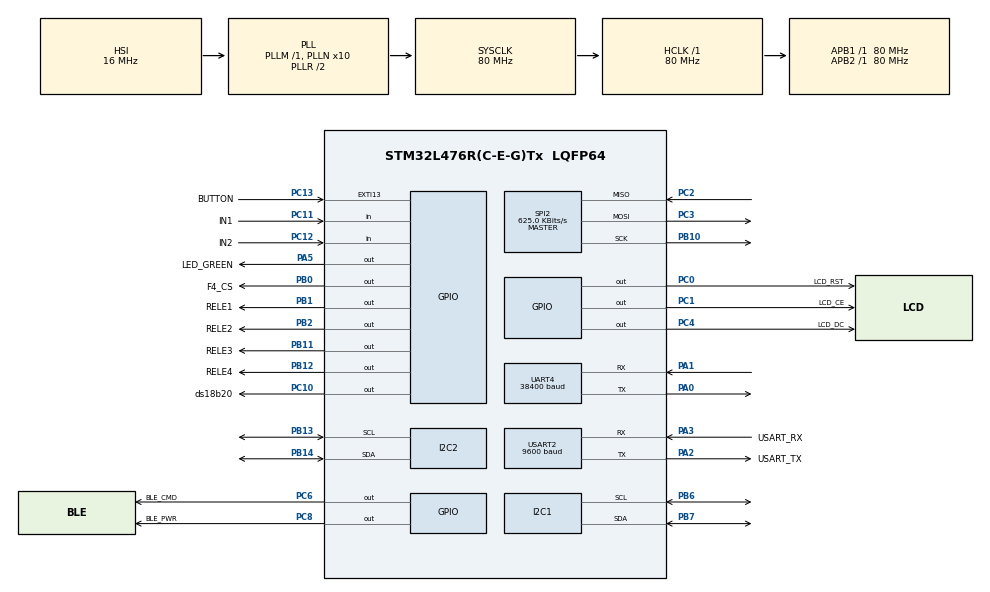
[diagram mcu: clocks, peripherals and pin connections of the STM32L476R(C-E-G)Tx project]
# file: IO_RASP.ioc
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CRC.DefaultPolynomialUse=DEFAULT_POLYNOMIAL_DISABLE
Dma.Request0=UART4_RX
Dma.Request1=UART4_TX
Dma.UART4_RX.0.Direction=DMA_PERIPH_TO_MEMORY
Dma.UART4_RX.0.Instance=DMA2_Channel5
Dma.UART4_RX.0.MemDataAlignment=DMA_MDATAALIGN_BYTE
Dma.UART4_RX.0.MemInc=DMA_MINC_ENABLE
Dma.UART4_RX.0.Mode=DMA_NORMAL
Dma.UART4_RX.0.PeriphDataAlignment=DMA_PDATAALIGN_BYTE
Dma.UART4_RX.0.PeriphInc=DMA_PINC_DISABLE
Dma.UART4_RX.0.Priority=DMA_PRIORITY_LOW
Dma.UART4_TX.1.Direction=DMA_MEMORY_TO_PERIPH
Dma.UART4_TX.1.Instance=DMA2_Channel3
Dma.UART4_TX.1.MemDataAlignment=DMA_MDATAALIGN_BYTE
Dma.UART4_TX.1.MemInc=DMA_MINC_ENABLE
Dma.UART4_TX.1.Mode=DMA_NORMAL
Dma.UART4_TX.1.PeriphDataAlignment=DMA_PDATAALIGN_BYTE
Dma.UART4_TX.1.PeriphInc=DMA_PINC_DISABLE
Dma.UART4_TX.1.Priority=DMA_PRIORITY_LOW
I2C1.Timing=0x10909CEC
I2C2.GeneralCallMode=I2C_GENERALCALL_ENABLE
I2C2.OwnAddress=64
I2C2.Timing=0x10909CEC
Mcu.Family=STM32L4
Mcu.Name=STM32L476R(C-E-G)Tx
Mcu.Package=LQFP64
NVIC.DMA2_Channel3_IRQn=true\:0\:0\:false\:false\:true\:false\:true\:true
NVIC.DMA2_Channel5_IRQn=true\:0\:0\:false\:false\:true\:false\:true\:true
NVIC.EXTI15_10_IRQn=true\:0\:0\:false\:false\:true\:true\:true\:true
NVIC.I2C1_ER_IRQn=true\:0\:0\:false\:false\:true\:true\:true\:true
NVIC.I2C1_EV_IRQn=true\:0\:0\:false\:false\:true\:true\:true\:true
NVIC.I2C2_ER_IRQn=true\:0\:0\:false\:false\:true\:true\:true\:true
NVIC.I2C2_EV_IRQn=true\:0\:0\:false\:false\:true\:true\:true\:true
NVIC.PriorityGroup=NVIC_PRIORITYGROUP_4
NVIC.SPI2_IRQn=true\:0\:0\:false\:false\:true\:true\:true\:true
NVIC.TIM6_DAC_IRQn=true\:0\:0\:false\:false\:true\:true\:true\:true
NVIC.TIM7_IRQn=true\:15\:0\:false\:false\:true\:false\:true\:true
NVIC.TimeBase=TIM7_IRQn
NVIC.TimeBaseIP=TIM7
NVIC.UART4_IRQn=true\:0\:0\:false\:false\:true\:true\:true\:true
NVIC.USART2_IRQn=true\:0\:0\:false\:false\:true\:true\:true\:true
PA0.Mode=Asynchronous
PA0.Signal=UART4_TX
PA1.Mode=Asynchronous
PA1.Signal=UART4_RX
PA13\ (JTMS-SWDIO).GPIO_Label=TMS
PA13\ (JTMS-SWDIO).Mode=Serial_Wire
PA13\ (JTMS-SWDIO).Signal=SYS_JTMS-SWDIO
PA14\ (JTCK-SWCLK).GPIO_Label=TCK
PA14\ (JTCK-SWCLK).Mode=Serial_Wire
PA14\ (JTCK-SWCLK).Signal=SYS_JTCK-SWCLK
PA2.GPIO_Label=USART_TX
PA2.GPIO_Mode=GPIO_MODE_AF_PP
PA2.GPIO_PuPd=GPIO_NOPULL
PA2.GPIO_Speed=GPIO_SPEED_FREQ_VERY_HIGH
PA2.Mode=Asynchronous
PA2.Signal=USART2_TX
PA3.GPIO_Label=USART_RX
PA3.GPIO_Mode=GPIO_MODE_AF_PP
PA3.GPIO_PuPd=GPIO_NOPULL
PA3.GPIO_Speed=GPIO_SPEED_FREQ_VERY_HIGH
PA3.Mode=Asynchronous
PA3.Signal=USART2_RX
PA5.GPIO_Label=LED_GREEN
PA5.GPIO_ModeDefaultOutputPP=GPIO_MODE_OUTPUT_PP
PA5.GPIO_PuPd=GPIO_NOPULL
PA5.GPIO_Speed=GPIO_SPEED_FREQ_LOW
PA5.Signal=GPIO_Output
PB0.GPIO_Label=F4_CS
PB0.Signal=GPIO_Output
PB1.GPIO_Label=RELE1
PB1.GPIO_PuPd=GPIO_PULLUP
PB1.PinState=GPIO_PIN_SET
PB1.Signal=GPIO_Output
PB10.Mode=Full_Duplex_Master
PB10.Signal=SPI2_SCK
PB11.GPIO_Label=RELE3
PB11.GPIO_PuPd=GPIO_PULLUP
PB11.PinState=GPIO_PIN_SET
PB11.Signal=GPIO_Output
PB12.GPIO_Label=RELE4
PB12.GPIO_PuPd=GPIO_PULLUP
PB12.PinState=GPIO_PIN_SET
PB12.Signal=GPIO_Output
PB13.Mode=I2C
PB13.Signal=I2C2_SCL
PB14.Mode=I2C
PB14.Signal=I2C2_SDA
PB2.GPIO_Label=RELE2
PB2.GPIO_PuPd=GPIO_PULLUP
PB2.PinState=GPIO_PIN_SET
PB2.Signal=GPIO_Output
PB3\ (JTDO-TRACESWO).GPIO_Label=SWO
PB3\ (JTDO-TRACESWO).Signal=SYS_JTDO-SWO
PB6.Mode=I2C
PB6.Signal=I2C1_SCL
PB7.Mode=I2C
PB7.Signal=I2C1_SDA
PC0.GPIO_Label=LCD_RST
PC0.Signal=GPIO_Output
PC1.GPIO_Label=LCD_CE
PC1.Signal=GPIO_Output
PC10.GPIO_Label=ds18b20
PC10.GPIO_ModeDefaultOutputPP=GPIO_MODE_OUTPUT_OD
PC10.GPIO_PuPd=GPIO_NOPULL
PC10.Signal=GPIO_Output
PC11.GPIO_Label=IN1
PC11.Signal=GPIO_Input
PC12.GPIO_Label=IN2
PC12.Signal=GPIO_Input
PC13.GPIO_Label=BUTTON
PC13.GPIO_ModeDefaultEXTI=GPIO_MODE_IT_FALLING
PC13.GPIO_PuPd=GPIO_NOPULL
PC13.Signal=GPXTI13
PC14-OSC32_IN\ (PC14).Mode=LSE-External-Oscillator
PC14-OSC32_IN\ (PC14).Signal=RCC_OSC32_IN
PC15-OSC32_OUT\ (PC15).Mode=LSE-External-Oscillator
PC15-OSC32_OUT\ (PC15).Signal=RCC_OSC32_OUT
PC2.Mode=Full_Duplex_Master
PC2.Signal=SPI2_MISO
PC3.Mode=Full_Duplex_Master
PC3.Signal=SPI2_MOSI
PC4.GPIO_Label=LCD_DC
PC4.GPIO_ModeDefaultOutputPP=GPIO_MODE_OUTPUT_PP
PC4.GPIO_PuPd=GPIO_NOPULL
PC4.Signal=GPIO_Output
PC6.GPIO_Label=BLE_CMD
PC6.Signal=GPIO_Output
PC8.GPIO_Label=BLE_PWR
PC8.Signal=GPIO_Output
PH0-OSC_IN\ (PH0).Signal=RCC_OSC_IN
PH1-OSC_OUT\ (PH1).Signal=RCC_OSC_OUT
ProjectManager.HeapSize=0x200
ProjectManager.StackSize=0x400
ProjectManager.TargetToolchain=STM32CubeIDE
RCC.ADCFreq_Value=64000000
RCC.AHBFreq_Value=80000000
RCC.APB1Freq_Value=80000000
RCC.APB1TimFreq_Value=80000000
RCC.APB2Freq_Value=80000000
RCC.APB2TimFreq_Value=80000000
RCC.CortexFreq_Value=80000000
RCC.HCLKFreq_Value=80000000
RCC.HSE_VALUE=8000000
RCC.HSI_VALUE=16000000
RCC.MSI_VALUE=4000000
RCC.PLLN=10
RCC.PLLSourceVirtual=RCC_PLLSOURCE_HSI
RCC.PREFETCH_ENABLE=1
RCC.SYSCLKFreq_VALUE=80000000
RCC.SYSCLKSource=RCC_SYSCLKSOURCE_PLLCLK
RCC.USBFreq_Value=64000000
RCC.VCOOutputFreq_Value=160000000
SPI2.BaudRatePrescaler=SPI_BAUDRATEPRESCALER_128
SPI2.CalculateBaudRate=625.0 KBits/s
SPI2.DataSize=SPI_DATASIZE_8BIT
SPI2.Direction=SPI_DIRECTION_2LINES
SPI2.Mode=SPI_MODE_MASTER
SPI2.NSSPMode=SPI_NSS_PULSE_DISABLE
SPI2.VirtualType=VM_MASTER
TIM6.Prescaler=79
UART4.BaudRate=38400
USART2.BaudRate=9600
USART2.VirtualMode-Asynchronous=VM_ASYNC
VP_CRC_VS_CRC.Mode=CRC_Activate
VP_SYS_VS_tim7.Mode=TIM7
VP_TIM6_VS_ClockSourceINT.Mode=Enable_Timer
board=NUCLEO-L476RG

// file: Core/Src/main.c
/* USER CODE BEGIN Header */
/**
  ******************************************************************************
  * @file           : main.c
  * @brief          : Main program body
  ******************************************************************************
  * @attention
  *
  * Copyright (c) 2022 STMicroelectronics.
  * All rights reserved.
  *
  * This software is licensed under terms that can be found in the LICENSE file
  * in the root directory of this software component.
  * If no LICENSE file comes with this software, it is provided AS-IS.
  *
  ******************************************************************************
  */
/* USER CODE END Header */
#include "main.h"

/* USER CODE BEGIN Includes */
#include "user_5110.h"
#include "onewire.h"
#include "ds18b20.h"
#include <stdlib.h>
#include "string.h"
#include "stdio.h"
#include "stdlib.h"
#include <stdbool.h>
#include <stdint.h>
#include "BMP180.h"
#include<string.h>
#include "crc.h"

/* USER CODE END Includes */

/* USER CODE BEGIN PM */
/* Extern variables*/
 extern OneWire_t OneWire;

/* Private define ------------------------------------------------------------*/
#define UART_BUFFER_SIZE 	 30
#define REFRESH_OUTPUT 		 500
#define REFRESH_DISPLAY 	 500
#define UART_DATA_TIME		 500
#define NAME_BL		"IO_RASP\r\n"
#define UART_BL		"9600,0,0\r\n"
#define PSW_BL		"1234\r\n"
#define SET_TEMP	"SETEMP"
#define GET_TEMPIN	"GETEMPIN"
#define GET_TEMPOUT	"GETEMPOUT"
#define GET_PRES	"GETPRES"
#define NACK_RESPONSE		'0'				// resposta a um comando invalido
#define ACK_RESPONSE		'1'				// resposta a um c
#define FW_VERSION			"1.2"

enum
 {
	 EVENT= 1,
	 COMAND = 2
 };

/* Private macro -------------------------------------------------------------*/
uint16_t u16BufIndex;						//Index do Buffer RX DMA
uint8_t u8BufRxUartData[UART_BUFFER_SIZE];	//Bufeer RX DMA
static uint32_t u32TimeBuff;				//Atualizção de dados no RX DMA
uint8_t u8BufUart4Data[30];					//Buffer da UART BLE
uint8_t u8BufUart2Data[30];					//Buffer da UART USB
char Buff_Display[120];						//Buffer para escrita display
char bufferUart2Tx[120];					//Buffer de transmissão Bluetooth
char bufferUart2Rx[120];					//Buffer de Recepção Bluetooth
bool BreadTemp = false;						//Flag de leitura da temperatura ONEWIRE
float fSet_Temp = 25;						//Valor de temperatura de controle
uint32_t u32RefreschDisplay;				//Atualização do display
uint32_t u32TimerOutput;					//tempo de controle da sáida
float ftempIn;								//Temperatura BMP-180
float press;								//Pressão BM-180
uint8_t u8IndexUart2 = 0;
uint32_t u32KeyTime;
bool bNewData;
uint8_t u8ProtocolI2c[4] = {0};
uint8_t u8RxI2C[100] = {0};
uint8_t u8TxI2C[100] = {0};
uint8_t u8SizeTx = 0;
uint8_t u8SizeRx = 0;
uint8_t u8BuffBluPy [100];
uint8_t u8SizeBluPy;
bool bFlagSize = false;
bool bFlagRxDataBLE = false;
uint8_t sizeBLETransmit = 0;
uint8_t u8BuffBLEWriteI2C[50] ={0};
uint8_t u8DataReceiveBLEPy[5];
uint8_t u8IndexBLEWrite=0;
uint8_t u8DebugBuff [10] = {0XFF};

void ReadTemp(void);
uint8_t Config_Bt(void);
uint8_t Manage_Data_Blue(uint8_t *u8Data);
uint16_t GetUartRxDataSize(void);
uint16_t UartGetData(uint16_t u16Size, uint8_t *u8BufGetdata);
uint32_t TimeDiff(uint32_t u32OldTime);
void PinControl(void);
void TaskDisplay(void);
void UartData (void);
void TaskKey (void);
void SendSPI(uint8_t* u8data, uint8_t u8size);
void ReceiveSPI(uint8_t* u8data, uint8_t u8size);
void FwVersion(void);
void RxProcess(void);
void OutputControl(uint8_t u8outNumber, bool bAction);
void GetIn(uint8_t u8INNumber);
void GetTemp(uint8_t u8NumberTemp);
void CommandResponse(uint8_t u8Response);
void GetPress(void);
/* USER CODE END PM */

 CRC_HandleTypeDef hcrc;

I2C_HandleTypeDef hi2c1;
I2C_HandleTypeDef hi2c2;

SPI_HandleTypeDef hspi2;

TIM_HandleTypeDef htim6;

UART_HandleTypeDef huart4;
UART_HandleTypeDef huart2;
DMA_HandleTypeDef hdma_uart4_rx;
DMA_HandleTypeDef hdma_uart4_tx;

void SystemClock_Config(void);
static void MX_GPIO_Init(void);
static void MX_USART2_UART_Init(void);
static void MX_DMA_Init(void);
static void MX_SPI2_Init(void);
static void MX_UART4_Init(void);
static void MX_I2C1_Init(void);
static void MX_CRC_Init(void);
static void MX_TIM6_Init(void);
static void MX_I2C2_Init(void);

int main(void)
{

  /* MCU Configuration--------------------------------------------------------*/

  /* Reset of all peripherals, Initializes the Flash interface and the Systick. */
  HAL_Init();

  /* Configure the system clock */
  SystemClock_Config();

  /* Initialize all configured peripherals */
  MX_GPIO_Init();
  F4_CS(SET);
  HAL_GPIO_WritePin(BLE_PWR_GPIO_Port, BLE_PWR_Pin, GPIO_PIN_RESET);

  HAL_GPIO_WritePin(BLE_CMD_GPIO_Port, BLE_CMD_Pin, GPIO_PIN_SET);
  MX_USART2_UART_Init();
  MX_DMA_Init();
  MX_SPI2_Init();
  MX_UART4_Init();
  BluPwr(true);
  MX_I2C1_Init();
  MX_CRC_Init();
  MX_TIM6_Init();
  MX_I2C2_Init();
  /* USER CODE BEGIN 2 */

  /*
  MX_GPIO_Init();
  F4_CS(SET);
  HAL_GPIO_WritePin(BLE_PWR_GPIO_Port, BLE_PWR_Pin, GPIO_PIN_RESET);

  HAL_GPIO_WritePin(BLE_CMD_GPIO_Port, BLE_CMD_Pin, GPIO_PIN_SET);
  MX_USART2_UART_Init();
  MX_DMA_Init();
  MX_SPI2_Init();
  MX_UART4_Init();
  BluPwr(true);
  MX_I2C1_Init();
  MX_CRC_Init();
  MX_TIM6_Init();
  MX_I2C2_Init();
   */
    LCD_Init();
    LCD_Write_String(0,0,"INICIALIZANDO");
    LCD_Write_String(0,1,"SISTEMA...");
    LCD_Write_String(0,4,"AGUARDE.....");

    Ds18b20_Init();		//Inicia sensor OneWire
    Ds18b20_ManualConvert();
    DS18B20_Start(&OneWire, ds18b20[0].Address);
    BMP180_Start(); //Inicia sensor BMP-180

    if(Config_Bt() != HAL_OK)			//Configura nome, uart e PSW do bluetooth
  	  {
  		  BluPwr(false);
  		  HAL_Delay(100);
  		  BluPwr(true);
  		  HAL_Delay(2000);
  		  if(Config_Bt() != HAL_OK)
  			  HAL_NVIC_SystemReset();
  	  }

    HAL_UART_Receive_IT(&huart2, (uint8_t*)bufferUart2Rx, 1);		//Inicia a recepção UART2
    HAL_I2C_EnableListen_IT(&hi2c2);
    HAL_GPIO_WritePin(LED_GREEN_GPIO_Port, LED_GREEN_Pin, GPIO_PIN_SET);
    memset(u8DebugBuff,0xFF,sizeof(u8DebugBuff));

  /* USER CODE END 2 */

  /* Infinite loop */
  /* USER CODE BEGIN WHILE */
  while (1)
  {

	  ReadTemp();
	//  PinControl();
	  TaskDisplay();
	  UartData ();
	  TaskKey();
    /* USER CODE END WHILE */

  }
}

void SystemClock_Config(void)
{
  RCC_OscInitTypeDef RCC_OscInitStruct = {0};
  RCC_ClkInitTypeDef RCC_ClkInitStruct = {0};

  /** Configure the main internal regulator output voltage
  */
  if (HAL_PWREx_ControlVoltageScaling(PWR_REGULATOR_VOLTAGE_SCALE1) != HAL_OK)
  {
    Error_Handler();
  }

  /** Initializes the RCC Oscillators according to the specified parameters
  * in the RCC_OscInitTypeDef structure.
  */
  RCC_OscInitStruct.OscillatorType = RCC_OSCILLATORTYPE_HSI;
  RCC_OscInitStruct.HSIState = RCC_HSI_ON;
  RCC_OscInitStruct.HSICalibrationValue = RCC_HSICALIBRATION_DEFAULT;
  RCC_OscInitStruct.PLL.PLLState = RCC_PLL_ON;
  RCC_OscInitStruct.PLL.PLLSource = RCC_PLLSOURCE_HSI;
  RCC_OscInitStruct.PLL.PLLM = 1;
  RCC_OscInitStruct.PLL.PLLN = 10;
  RCC_OscInitStruct.PLL.PLLP = RCC_PLLP_DIV7;
  RCC_OscInitStruct.PLL.PLLQ = RCC_PLLQ_DIV2;
  RCC_OscInitStruct.PLL.PLLR = RCC_PLLR_DIV2;
  if (HAL_RCC_OscConfig(&RCC_OscInitStruct) != HAL_OK)
  {
    Error_Handler();
  }

  /** Initializes the CPU, AHB and APB buses clocks
  */
  RCC_ClkInitStruct.ClockType = RCC_CLOCKTYPE_HCLK|RCC_CLOCKTYPE_SYSCLK
                              |RCC_CLOCKTYPE_PCLK1|RCC_CLOCKTYPE_PCLK2;
  RCC_ClkInitStruct.SYSCLKSource = RCC_SYSCLKSOURCE_PLLCLK;
  RCC_ClkInitStruct.AHBCLKDivider = RCC_SYSCLK_DIV1;
  RCC_ClkInitStruct.APB1CLKDivider = RCC_HCLK_DIV1;
  RCC_ClkInitStruct.APB2CLKDivider = RCC_HCLK_DIV1;

  if (HAL_RCC_ClockConfig(&RCC_ClkInitStruct, FLASH_LATENCY_4) != HAL_OK)
  {
    Error_Handler();
  }
}

static void MX_CRC_Init(void)
{

  hcrc.Instance = CRC;
  hcrc.Init.DefaultPolynomialUse = DEFAULT_POLYNOMIAL_DISABLE;
  hcrc.Init.DefaultInitValueUse = DEFAULT_INIT_VALUE_ENABLE;
  hcrc.Init.GeneratingPolynomial = 79764919;
  hcrc.Init.CRCLength = CRC_POLYLENGTH_32B;
  hcrc.Init.InputDataInversionMode = CRC_INPUTDATA_INVERSION_NONE;
  hcrc.Init.OutputDataInversionMode = CRC_OUTPUTDATA_INVERSION_DISABLE;
  hcrc.InputDataFormat = CRC_INPUTDATA_FORMAT_BYTES;
  if (HAL_CRC_Init(&hcrc) != HAL_OK)
  {
    Error_Handler();
  }

}

static void MX_I2C1_Init(void)
{

  hi2c1.Instance = I2C1;
  hi2c1.Init.Timing = 0x10909CEC;
  hi2c1.Init.OwnAddress1 = 0;
  hi2c1.Init.AddressingMode = I2C_ADDRESSINGMODE_7BIT;
  hi2c1.Init.DualAddressMode = I2C_DUALADDRESS_DISABLE;
  hi2c1.Init.OwnAddress2 = 0;
  hi2c1.Init.OwnAddress2Masks = I2C_OA2_NOMASK;
  hi2c1.Init.GeneralCallMode = I2C_GENERALCALL_DISABLE;
  hi2c1.Init.NoStretchMode = I2C_NOSTRETCH_DISABLE;
  if (HAL_I2C_Init(&hi2c1) != HAL_OK)
  {
    Error_Handler();
  }

  /** Configure Analogue filter
  */
  if (HAL_I2CEx_ConfigAnalogFilter(&hi2c1, I2C_ANALOGFILTER_ENABLE) != HAL_OK)
  {
    Error_Handler();
  }

  /** Configure Digital filter
  */
  if (HAL_I2CEx_ConfigDigitalFilter(&hi2c1, 0) != HAL_OK)
  {
    Error_Handler();
  }

}

static void MX_I2C2_Init(void)
{

  hi2c2.Instance = I2C2;
  hi2c2.Init.Timing = 0x10909CEC;
  hi2c2.Init.OwnAddress1 = 128;
  hi2c2.Init.AddressingMode = I2C_ADDRESSINGMODE_7BIT;
  hi2c2.Init.DualAddressMode = I2C_DUALADDRESS_DISABLE;
  hi2c2.Init.OwnAddress2 = 0;
  hi2c2.Init.OwnAddress2Masks = I2C_OA2_NOMASK;
  hi2c2.Init.GeneralCallMode = I2C_GENERALCALL_ENABLE;
  hi2c2.Init.NoStretchMode = I2C_NOSTRETCH_DISABLE;
  if (HAL_I2C_Init(&hi2c2) != HAL_OK)
  {
    Error_Handler();
  }

  /** Configure Analogue filter
  */
  if (HAL_I2CEx_ConfigAnalogFilter(&hi2c2, I2C_ANALOGFILTER_ENABLE) != HAL_OK)
  {
    Error_Handler();
  }

  /** Configure Digital filter
  */
  if (HAL_I2CEx_ConfigDigitalFilter(&hi2c2, 0) != HAL_OK)
  {
    Error_Handler();
  }

}

static void MX_SPI2_Init(void)
{

  /* SPI2 parameter configuration*/
  hspi2.Instance = SPI2;
  hspi2.Init.Mode = SPI_MODE_MASTER;
  hspi2.Init.Direction = SPI_DIRECTION_2LINES;
  hspi2.Init.DataSize = SPI_DATASIZE_8BIT;
  hspi2.Init.CLKPolarity = SPI_POLARITY_LOW;
  hspi2.Init.CLKPhase = SPI_PHASE_1EDGE;
  hspi2.Init.NSS = SPI_NSS_SOFT;
  hspi2.Init.BaudRatePrescaler = SPI_BAUDRATEPRESCALER_128;
  hspi2.Init.FirstBit = SPI_FIRSTBIT_MSB;
  hspi2.Init.TIMode = SPI_TIMODE_DISABLE;
  hspi2.Init.CRCCalculation = SPI_CRCCALCULATION_DISABLE;
  hspi2.Init.CRCPolynomial = 7;
  hspi2.Init.CRCLength = SPI_CRC_LENGTH_DATASIZE;
  hspi2.Init.NSSPMode = SPI_NSS_PULSE_DISABLE;
  if (HAL_SPI_Init(&hspi2) != HAL_OK)
  {
    Error_Handler();
  }

}

static void MX_TIM6_Init(void)
{

  TIM_MasterConfigTypeDef sMasterConfig = {0};

  htim6.Instance = TIM6;
  htim6.Init.Prescaler = 79;
  htim6.Init.CounterMode = TIM_COUNTERMODE_UP;
  htim6.Init.Period = 65535;
  htim6.Init.AutoReloadPreload = TIM_AUTORELOAD_PRELOAD_DISABLE;
  if (HAL_TIM_Base_Init(&htim6) != HAL_OK)
  {
    Error_Handler();
  }
  sMasterConfig.MasterOutputTrigger = TIM_TRGO_RESET;
  sMasterConfig.MasterSlaveMode = TIM_MASTERSLAVEMODE_DISABLE;
  if (HAL_TIMEx_MasterConfigSynchronization(&htim6, &sMasterConfig) != HAL_OK)
  {
    Error_Handler();
  }

}

static void MX_UART4_Init(void)
{

  huart4.Instance = UART4;
  huart4.Init.BaudRate = 38400;
  huart4.Init.WordLength = UART_WORDLENGTH_8B;
  huart4.Init.StopBits = UART_STOPBITS_1;
  huart4.Init.Parity = UART_PARITY_NONE;
  huart4.Init.Mode = UART_MODE_TX_RX;
  huart4.Init.HwFlowCtl = UART_HWCONTROL_NONE;
  huart4.Init.OverSampling = UART_OVERSAMPLING_16;
  huart4.Init.OneBitSampling = UART_ONE_BIT_SAMPLE_DISABLE;
  huart4.AdvancedInit.AdvFeatureInit = UART_ADVFEATURE_NO_INIT;
  if (HAL_UART_Init(&huart4) != HAL_OK)
  {
    Error_Handler();
  }

}

static void MX_USART2_UART_Init(void)
{

  huart2.Instance = USART2;
  huart2.Init.BaudRate = 9600;
  huart2.Init.WordLength = UART_WORDLENGTH_8B;
  huart2.Init.StopBits = UART_STOPBITS_1;
  huart2.Init.Parity = UART_PARITY_NONE;
  huart2.Init.Mode = UART_MODE_TX_RX;
  huart2.Init.HwFlowCtl = UART_HWCONTROL_NONE;
  huart2.Init.OverSampling = UART_OVERSAMPLING_16;
  huart2.Init.OneBitSampling = UART_ONE_BIT_SAMPLE_DISABLE;
  huart2.AdvancedInit.AdvFeatureInit = UART_ADVFEATURE_NO_INIT;
  if (HAL_UART_Init(&huart2) != HAL_OK)
  {
    Error_Handler();
  }

}

static void MX_DMA_Init(void)
{

  /* DMA controller clock enable */
  __HAL_RCC_DMA2_CLK_ENABLE();

  /* DMA interrupt init */
  /* DMA2_Channel3_IRQn interrupt configuration */
  HAL_NVIC_SetPriority(DMA2_Channel3_IRQn, 0, 0);
  HAL_NVIC_EnableIRQ(DMA2_Channel3_IRQn);
  /* DMA2_Channel5_IRQn interrupt configuration */
  HAL_NVIC_SetPriority(DMA2_Channel5_IRQn, 0, 0);
  HAL_NVIC_EnableIRQ(DMA2_Channel5_IRQn);

}

static void MX_GPIO_Init(void)
{
  GPIO_InitTypeDef GPIO_InitStruct = {0};

  /* GPIO Ports Clock Enable */
  __HAL_RCC_GPIOC_CLK_ENABLE();
  __HAL_RCC_GPIOH_CLK_ENABLE();
  __HAL_RCC_GPIOA_CLK_ENABLE();
  __HAL_RCC_GPIOB_CLK_ENABLE();

  /*Configure GPIO pin Output Level */
  HAL_GPIO_WritePin(GPIOC, LCD_RST_Pin|LCD_CE_Pin|LCD_DC_Pin|BLE_CMD_Pin
                          |BLE_PWR_Pin|ds18b20_Pin, GPIO_PIN_RESET);

  /*Configure GPIO pin Output Level */
  HAL_GPIO_WritePin(LED_GREEN_GPIO_Port, LED_GREEN_Pin, GPIO_PIN_RESET);

  /*Configure GPIO pin Output Level */
  HAL_GPIO_WritePin(F4_CS_GPIO_Port, F4_CS_Pin, GPIO_PIN_RESET);

  /*Configure GPIO pin Output Level */
  HAL_GPIO_WritePin(GPIOB, RELE1_Pin|RELE2_Pin|RELE3_Pin|RELE4_Pin, GPIO_PIN_SET);

  /*Configure GPIO pin : BUTTON_Pin */
  GPIO_InitStruct.Pin = BUTTON_Pin;
  GPIO_InitStruct.Mode = GPIO_MODE_IT_FALLING;
  GPIO_InitStruct.Pull = GPIO_NOPULL;
  HAL_GPIO_Init(BUTTON_GPIO_Port, &GPIO_InitStruct);

  /*Configure GPIO pins : LCD_RST_Pin LCD_CE_Pin LCD_DC_Pin BLE_CMD_Pin
                           BLE_PWR_Pin */
  GPIO_InitStruct.Pin = LCD_RST_Pin|LCD_CE_Pin|LCD_DC_Pin|BLE_CMD_Pin
                          |BLE_PWR_Pin;
  GPIO_InitStruct.Mode = GPIO_MODE_OUTPUT_PP;
  GPIO_InitStruct.Pull = GPIO_NOPULL;
  GPIO_InitStruct.Speed = GPIO_SPEED_FREQ_LOW;
  HAL_GPIO_Init(GPIOC, &GPIO_InitStruct);

  /*Configure GPIO pin : LED_GREEN_Pin */
  GPIO_InitStruct.Pin = LED_GREEN_Pin;
  GPIO_InitStruct.Mode = GPIO_MODE_OUTPUT_PP;
  GPIO_InitStruct.Pull = GPIO_NOPULL;
  GPIO_InitStruct.Speed = GPIO_SPEED_FREQ_LOW;
  HAL_GPIO_Init(LED_GREEN_GPIO_Port, &GPIO_InitStruct);

  /*Configure GPIO pin : F4_CS_Pin */
  GPIO_InitStruct.Pin = F4_CS_Pin;
  GPIO_InitStruct.Mode = GPIO_MODE_OUTPUT_PP;
  GPIO_InitStruct.Pull = GPIO_NOPULL;
  GPIO_InitStruct.Speed = GPIO_SPEED_FREQ_LOW;
  HAL_GPIO_Init(F4_CS_GPIO_Port, &GPIO_InitStruct);

  /*Configure GPIO pins : RELE1_Pin RELE2_Pin RELE3_Pin RELE4_Pin */
  GPIO_InitStruct.Pin = RELE1_Pin|RELE2_Pin|RELE3_Pin|RELE4_Pin;
  GPIO_InitStruct.Mode = GPIO_MODE_OUTPUT_PP;
  GPIO_InitStruct.Pull = GPIO_PULLUP;
  GPIO_InitStruct.Speed = GPIO_SPEED_FREQ_LOW;
  HAL_GPIO_Init(GPIOB, &GPIO_InitStruct);

  /*Configure GPIO pin : ds18b20_Pin */
  GPIO_InitStruct.Pin = ds18b20_Pin;
  GPIO_InitStruct.Mode = GPIO_MODE_OUTPUT_OD;
  GPIO_InitStruct.Pull = GPIO_NOPULL;
  GPIO_InitStruct.Speed = GPIO_SPEED_FREQ_LOW;
  HAL_GPIO_Init(ds18b20_GPIO_Port, &GPIO_InitStruct);

  /*Configure GPIO pins : IN1_Pin IN2_Pin */
  GPIO_InitStruct.Pin = IN1_Pin|IN2_Pin;
  GPIO_InitStruct.Mode = GPIO_MODE_INPUT;
  GPIO_InitStruct.Pull = GPIO_NOPULL;
  HAL_GPIO_Init(GPIOC, &GPIO_InitStruct);

  /* EXTI interrupt init*/
  HAL_NVIC_SetPriority(EXTI15_10_IRQn, 0, 0);
  HAL_NVIC_EnableIRQ(EXTI15_10_IRQn);

}

/* USER CODE BEGIN 4 */
void HAL_I2C_AddrCallback(I2C_HandleTypeDef *hi2c, uint8_t TransferDirection, uint16_t AddrMatchCode)
{
	if(!TransferDirection)
		HAL_I2C_Slave_Seq_Receive_IT(&hi2c2, u8RxI2C, 3, I2C_FIRST_FRAME);
	else
		HAL_I2C_Slave_Seq_Transmit_IT(&hi2c2, u8TxI2C, u8SizeTx, I2C_FIRST_FRAME);
}
void HAL_I2C_ListenCpltCallback(I2C_HandleTypeDef *hi2c)
{
	  HAL_I2C_EnableListen_IT(hi2c);
}
void HAL_I2C_SlaveTxCpltCallback(I2C_HandleTypeDef *hi2c)
{

}
void GetDataBLE()
{
	u8DebugBuff[u8IndexBLEWrite] = u8DataReceiveBLEPy[0];
	if(u8DataReceiveBLEPy[0]== '\n')
	{
		u8BuffBLEWriteI2C[u8IndexBLEWrite++] = '\n';
		HAL_UART_Transmit(&huart4, (uint8_t *)u8BuffBLEWriteI2C, u8IndexBLEWrite,10);
		u8IndexBLEWrite = 0;

	}
	else
	{
		u8BuffBLEWriteI2C[u8IndexBLEWrite++] = u8DataReceiveBLEPy[0];
	}
}
void HAL_I2C_SlaveRxCpltCallback(I2C_HandleTypeDef *hi2c)
{
	bNewData = true;
	if(bFlagSize)
	{
		bFlagSize = false;
		GetDataBLE();
	}
	else
		RxProcess();
}
void CommandResponse(uint8_t u8Response)
{
	u8SizeTx = sprintf((char*)u8TxI2C,"%c",u8Response);
}
void StatusOutputs(void)
{
	u8SizeTx = 4;
	u8TxI2C[0] = !HAL_GPIO_ReadPin(RELE1_GPIO_Port, RELE1_Pin);
	u8TxI2C[1] = !HAL_GPIO_ReadPin(RELE1_GPIO_Port, RELE2_Pin);
	u8TxI2C[2] = !HAL_GPIO_ReadPin(RELE1_GPIO_Port, RELE3_Pin);
	u8TxI2C[3] = !HAL_GPIO_ReadPin(RELE1_GPIO_Port, RELE4_Pin);
}
void OutputControl(uint8_t u8outNumber, bool bAction)
{
	switch(u8outNumber)
	{
		case 1:
//			if(!HAL_GPIO_ReadPin(RELE1_GPIO_Port, RELE1_Pin))
//				break;
			rele1(bAction);
			break;
		case 2:
//			if(!HAL_GPIO_ReadPin(RELE2_GPIO_Port, RELE2_Pin))
//				break;
			rele2(bAction);
			break;
		case 3:
//			if(!HAL_GPIO_ReadPin(RELE3_GPIO_Port, RELE3_Pin))
//				break;
			rele3(bAction);
			break;
		case 4:
//			if(!HAL_GPIO_ReadPin(RELE4_GPIO_Port, RELE4_Pin))
//				break;
			rele4(bAction);
			break;
	}
	CommandResponse(ACK_RESPONSE);						// informa mensagem recebida
}
void GetIn(uint8_t u8INNumber)
{
	if(u8INNumber == 1)
	{
		u8TxI2C[0] = IN(IN1_Pin);
		//sprintf((char*)u8TxI2C,"%d",IN(IN1_Pin));
	}
	else if(u8INNumber == 2)
	{
		u8TxI2C[0] = IN(IN2_Pin);
		//sprintf((char*)u8TxI2C,"%d",IN(IN2_Pin));
	}

	u8SizeTx = 1;
}
void GetTemp(uint8_t u8NumberTemp)
{
	if(u8NumberTemp == 1)
	{
		//snprintf((char*)u8TxI2C,3,"%d",(uint8_t)ds18b20[0].Temperature);
		snprintf((char*)u8TxI2C,6,"%.2f",ds18b20[0].Temperature);
	}
	else if(u8NumberTemp == 2)
	{
		//snprintf((char*)u8TxI2C,3,"%d",(uint8_t)ftempIn);
		snprintf((char*)u8TxI2C,6,"%.2f",ftempIn);
	}

	u8SizeTx = 6;
}
void GetPress(void)
{

	snprintf((char*)u8TxI2C,7,"%.2f",press);
	u8SizeTx = 6;
}
void FwVersion(void)
{
	u8SizeTx = sprintf((char*)u8TxI2C,"%s",FW_VERSION);
}
/* *****************************************************************************
/// @brief		Controla a recep��o serial
/// @fn			void RxProcess(void)
// *****************************************************************************/
void RxProcess(void)
{
	uint8_t u8Data;

	if (bNewData == true)
	{
		bNewData = false;
		u8Data = u8RxI2C[COMAND] - '0';
		switch (u8RxI2C[EVENT])				// verifica o comando recebido
		{
		case 'V':											// informa a versão de fimware
			FwVersion();
			break;
		case 'L':											// liga o rele
			OutputControl(u8Data, true);
			break;
		case 'D':											// desliga o rele
			OutputControl(u8Data, false);
			break;
		case 'I':											// le entrada
			GetIn(u8Data);
			break;
		case 'T':											// leitura da vari�veis ambientais
			GetTemp(u8Data);
			break;
		case 'P':											// leitura da vari�veis ambientais
			GetPress();
			break;
		case 'S':											// status o rele
			StatusOutputs();
			break;
		case 'B':											// leitura da vari�veis ambientais
			if(u8Data == ('S' - '0'))
			{
				u8SizeTx = 1;
				u8TxI2C[0] = u8SizeBluPy;
			}
			if(u8Data == ('R' - '0'))
			{
				memcpy(u8TxI2C,u8BuffBluPy,u8SizeBluPy);
				u8SizeTx = u8SizeBluPy;
			}
			if(u8Data == ('W' - '0'))
			{
				bFlagSize = true;
				HAL_I2C_Slave_Seq_Receive_IT(&hi2c2, u8DataReceiveBLEPy, 1, I2C_FIRST_FRAME);
			}
			break;
		default:
			 __HAL_I2C_CLEAR_FLAG(&hi2c2, I2C_FLAG_ADDR);
			CommandResponse(ACK_RESPONSE);					// comando invalido
		}
	}
}
void SendSPI(uint8_t* u8data, uint8_t u8size)
{

//uint8_t u8buff[150];
//
//	crc32 = HAL_CRC_Calculate(&hcrc, (uint32_t*)u8dataSPI, 1);
//	crc8 = crc8x_fast(u8dataSPI, 4, CRC8Table[10]);
//	crc16 = CRC16(u8dataSPI, 4, CRC16Table[10]);
//	sprintf((char*)u8buff,"ENVIANDO DADOS:\r\nCRC:%lu \r\nCRC8=%lu \r\nCRC16=%lu\r\nPAYLOAD:%s\r\n",crc32,crc8,crc16,u8dataSPI);
//	HAL_UART_Transmit(&huart2, u8buff, strlen((char*)u8buff), 100);
//
//	memset(&u8BufTXSPI,'0',sizeof(u8BufTXSPI));
//	memcpy(&u8BufTXSPI[0],&crc32,4);
//	memcpy(&u8BufTXSPI[4],&crc16,2);
//	memcpy(&u8BufTXSPI[6],&crc8,1);
//	memcpy(&u8BufTXSPI[7],u8data,u8size);
//
//	F4_CS(RESET);
//	HAL_SPI_Transmit(&hspi2, u8BufTXSPI, u8size + 7,100);
//	F4_CS(SET);
}
void ReceiveSPI(uint8_t* u8data, uint8_t u8size)
{
//	F4_CS(RESET);
//	memset(u8data,'0',sizeof(*u8data));
//	HAL_SPI_Receive_IT(&hspi2, u8data, u8size);

}
void PinControl(void)
{
  if(TimeDiff(u32TimerOutput) > REFRESH_OUTPUT)
  {
	  u32TimerOutput = HAL_GetTick();
	  if(ds18b20[0].Temperature <= fSet_Temp)
	  HAL_GPIO_WritePin(LED_GREEN_GPIO_Port, LED_GREEN_Pin, GPIO_PIN_RESET);

	  else
		  HAL_GPIO_WritePin(LED_GREEN_GPIO_Port, LED_GREEN_Pin, GPIO_PIN_SET);
  }
}
void TaskDisplay(void)
{
  if(TimeDiff(u32RefreschDisplay) > REFRESH_DISPLAY )
  {
	  u32RefreschDisplay = HAL_GetTick();
	  LCD_Clear();
	  LCD_Write_String(15,0,"AQUECEDOR");
	  LCD_Write_String(15,1,"LEITURAS:");
	  sprintf(Buff_Display,"T_IN:  %.3fC",ftempIn);
	  LCD_Write_String(0,2,Buff_Display);
	  sprintf(Buff_Display,"T_OUT: %.3fC",ds18b20[0].Temperature);
	  LCD_Write_String(0,3,Buff_Display);
	  sprintf(Buff_Display,"PRES:%.1fhPa",press);
	  LCD_Write_String(0,4,Buff_Display);
	  sprintf(Buff_Display,"T_CTR: %.3fC",fSet_Temp);
	  LCD_Write_String(0,5,Buff_Display);
  }
}
void TaskKey(void)
{

  if(HAL_GPIO_ReadPin(BUTTON_GPIO_Port, BUTTON_Pin) == GPIO_PIN_RESET)
  {
	  if(TimeDiff(u32KeyTime) > 500)
	  {
		  fSet_Temp +=5;
		  u32KeyTime = HAL_GetTick();
			if(fSet_Temp > 100)
				fSet_Temp = 25;
	  }
  }
  else
	  u32KeyTime = HAL_GetTick();
}
void UartData (void)
{
	uint8_t u8size;
  if(TimeDiff(u32TimeBuff)> UART_DATA_TIME)
  {
	  u32TimeBuff = HAL_GetTick();
	  u8size = GetUartRxDataSize();
	  if(u8size)
	  {
	  UartGetData(u8size, (uint8_t*)u8BufUart4Data);
	  Manage_Data_Blue(u8BufUart4Data);
	  }
  }
}
uint8_t Config_Bt(void)
{
	uint8_t u8BuffRxConfig[30];
	uint8_t u8size;

	  u8size = sprintf((char*)u8BufUart4Data,"AT+UART?\r\n");
	  HAL_UART_Transmit(&huart4, (uint8_t *)u8BufUart4Data, u8size,10);
	  HAL_UART_Receive(&huart4, u8BuffRxConfig, 20,100);
	  if(strstr((char*)u8BuffRxConfig,(char*)UART_BL) == NULL)
	  {
		  memset(u8BuffRxConfig,0,sizeof(u8BuffRxConfig));
		  u8size = sprintf((char*)u8BufUart4Data,"AT+UART=%s",UART_BL);
		  HAL_UART_Transmit(&huart4, (uint8_t *)u8BufUart4Data, u8size,10);
		  HAL_UART_Receive(&huart4, u8BuffRxConfig, 20,100);
		  if(!strcmp((char*)u8BuffRxConfig,(char*)"OK\r\n"))
		  {
			  return HAL_ERROR;
		  }
	  }

	  memset(u8BuffRxConfig,0,sizeof(u8BuffRxConfig));
	  u8size = sprintf((char*)u8BufUart4Data,"AT+NAME?\r\n");
	  HAL_UART_Transmit(&huart4, (uint8_t *)u8BufUart4Data, u8size,10);
	  HAL_UART_Receive(&huart4, u8BuffRxConfig, 20,100);
	  if(strstr((char*)u8BuffRxConfig,(char*)NAME_BL) == NULL)
	  {
		  memset(u8BuffRxConfig,0,sizeof(u8BuffRxConfig));
		  u8size = sprintf((char*)u8BufUart4Data,"AT+NAME=%s",NAME_BL);
		  HAL_UART_Transmit(&huart4, (uint8_t *)u8BufUart4Data, u8size,10);
		  HAL_UART_Receive(&huart4, u8BuffRxConfig, 20,100);
		  if(strcmp((char*)u8BuffRxConfig,(char*)"OK\r\n"))
		  {
			  return HAL_ERROR;
		  }
	  }

	  memset(u8BuffRxConfig,0,sizeof(u8BuffRxConfig));
	  u8size = sprintf((char*)u8BufUart4Data,"AT+PSWD?\r\n");
	  HAL_UART_Transmit(&huart4, (uint8_t *)u8BufUart4Data, u8size,10);
	  HAL_UART_Receive(&huart4, u8BuffRxConfig, 20,100);
	  if(strstr((char*)u8BuffRxConfig,(char*)PSW_BL) == NULL)
	  {
		  memset(u8BuffRxConfig,0,sizeof(u8BuffRxConfig));
		  u8size = sprintf((char*)u8BufUart4Data,"AT+PSWD=%s",PSW_BL);
		  HAL_UART_Transmit(&huart4, (uint8_t *)u8BufUart4Data, u8size,10);
		  HAL_UART_Receive(&huart4, u8BuffRxConfig, 20,100);
		  if(strcmp((char*)u8BuffRxConfig,(char*)"OK\r\n"))
		  {
			  return HAL_ERROR;
		  }
	  }
	  BluPwr(false);
	  BluCmd(false);
	  HAL_Delay(100);
	  BluPwr(true);
	  huart4.Init.BaudRate = 9600;
	  HAL_UART_Init(&huart4);
	  UART_Start_Receive_DMA(&huart4,u8BufRxUartData,UART_BUFFER_SIZE);

	  return HAL_OK;
}
uint8_t Manage_Data_Blue(uint8_t *u8Data)
{
char identify;
char *p;
char cmd[10];
char parametro[10];

	if(strstr((char*)u8Data,(char*)"AT+") == NULL)
		goto ERROR;

	p = strchr((char*)u8Data,'=');
	if(p == NULL)
		p = strchr((char*)u8Data,'?');
			if(p == NULL)
				goto ERROR;
	identify = p[0];
	p = strtok ((char*)u8Data,"+=?");
	p = strtok (NULL,"+=?");
	if(p != NULL)
		strcpy(cmd,p);
	else
		goto ERROR;
	if(identify == '=')
		p = strtok (NULL,"=");
	else
		p = strtok (NULL,"?");
	if(p != NULL)
		strcpy(parametro,p);
	else
		goto ERROR;

	if(identify == '=')
	{
		if(!strcmp(cmd, (char*)SET_TEMP))
		{
			fSet_Temp = atof(parametro);
			sprintf(bufferUart2Tx,"SETADO PARAMETRO %.2fC\r\n",fSet_Temp);
			HAL_UART_Transmit_IT(&huart2, (uint8_t*)bufferUart2Tx,strlen(bufferUart2Tx));
		}
	}

	if(identify == '?')
	{
		if(!strcmp(cmd, (char*)GET_TEMPOUT))
		{
			sprintf(bufferUart2Tx,"SOLICITADO TEMPOUT %.2fC\r\n",ds18b20[0].Temperature);

			u8SizeBluPy=sprintf((char*)u8BuffBluPy,"SOLICITADO TEMPOUT %.2fC\r\n",ds18b20[0].Temperature);
			HAL_UART_Transmit_IT(&huart2, (uint8_t*)bufferUart2Tx,strlen(bufferUart2Tx));
			HAL_UART_Transmit_IT(&huart4, (uint8_t*)bufferUart2Tx,strlen(bufferUart2Tx));
		}
		if(!strcmp(cmd, (char*)GET_TEMPIN))
		{
			u8SizeBluPy=sprintf((char*)u8BuffBluPy,"SOLICITADO TEMPIN %.2fC\r\n",ftempIn);
			sprintf(bufferUart2Tx,"SOLICITADO TEMPIN %.2fC\r\n",ftempIn);
			HAL_UART_Transmit_IT(&huart2, (uint8_t*)bufferUart2Tx,strlen(bufferUart2Tx));
			HAL_UART_Transmit_IT(&huart4, (uint8_t*)bufferUart2Tx,strlen(bufferUart2Tx));
		}
		if(!strcmp(cmd, (char*)GET_PRES))
		{
			u8SizeBluPy=sprintf((char*)u8BuffBluPy,"SOLICITADO PRES %.2fhPa\r\n",press);
			sprintf(bufferUart2Tx,"SOLICITADO PRES %.2fhPa\r\n",press);
			HAL_UART_Transmit_IT(&huart2, (uint8_t*)bufferUart2Tx,strlen(bufferUart2Tx));
			HAL_UART_Transmit_IT(&huart4, (uint8_t*)bufferUart2Tx,strlen(bufferUart2Tx));
		}

	}
	return 0;

	ERROR:
	return HAL_ERROR;

}
void ReadTemp(void)
{
	static uint32_t u32TimeTemp;

	  if(!BreadTemp)
	  {
	  DS18B20_Start(&OneWire, ds18b20[0].Address);
	  BreadTemp = true;
	  ftempIn = BMP180_GetTemp() / (float)1000; //LENDO TEMPERATURA
	  press = BMP180_GetPress (0) / (float)100; //LENDO PRESSAO
	  u32TimeTemp = HAL_GetTick();
	  }
	  if(DS18B20_AllDone(&OneWire))
	  {
	  ds18b20[0].DataIsValid = DS18B20_Read(&OneWire, ds18b20[0].Address, &ds18b20[0].Temperature);
	  BreadTemp = true;
	  }
	  if(TimeDiff(u32TimeTemp) > 200)
	  {
		  BreadTemp = false;
	  }
}
/* USER CODE BEGIN 4 */
// *****************************************************************************
/// @brief		Calcula o número de bytes disponíveis para leitura
/// @fn			uint16_t GetUartRxDataSize(void)
/// @retval		Número de bytes
// *****************************************************************************
uint16_t GetUartRxDataSize(void)
{
	int16_t u16Size, u16UartRxIndex;

	u16UartRxIndex = UART_BUFFER_SIZE - __HAL_DMA_GET_COUNTER(huart4.hdmarx);
	u16Size = u16UartRxIndex - u16BufIndex;

	if (u16Size < 0)
		u16Size = UART_BUFFER_SIZE - u16BufIndex + u16UartRxIndex;
	if (u16Size > UART_BUFFER_SIZE)
		u16Size = UART_BUFFER_SIZE;
	return u16Size;
}

// *****************************************************************************
/// @brief		Lê os dados recebidos pela UART
/// @fn			uint16_t UartGetData(uint16_t u16Size, uint8_t *u8BufGetdata)
/// @param[in]	u16Size		@brief Número de bytes
/// @retval		Número de bytes
// *****************************************************************************
uint16_t UartGetData(uint16_t u16Size, uint8_t *u8BufGetdata)
{
	uint16_t n;
	uint16_t u16DataSize = GetUartRxDataSize();

	for (n = 0; n < u16DataSize; n++)
	{
		//au8UartRxRdBuffer[u8Uart][n] = au8UartRxWrBuffer[u8Uart][as16UartRxRdIndex[u8Uart]];
		u8BufGetdata[n] = u8BufRxUartData[u16BufIndex];

		u16BufIndex += 1;

		if (u16BufIndex >= UART_BUFFER_SIZE)
			u16BufIndex = 0;
	}
	return true;
}
// *****************************************************************************
/// @brief		Retorna o período de tempo entre uma variável e o relógio do sistema
/// @fn			uint32_tTimeDiff(void)
/// @retval		u32ElapsedTime @brief Período de tempo decorrido (ms)
// *****************************************************************************
uint32_t TimeDiff(uint32_t u32OldTime)
{
	uint32_t u32Now, u32ElapsedTime;

	u32Now = HAL_GetTick();
	if (u32Now >= u32OldTime)
	   u32ElapsedTime = u32Now - u32OldTime;
	else
	   u32ElapsedTime = 0xFFFFFFFF - u32OldTime + u32Now;
	return u32ElapsedTime;
}
void HAL_UART_RxCpltCallback(UART_HandleTypeDef *huart)
{

	if(huart->Instance == USART2)
	{
		if(bufferUart2Rx[0] != '\n')
		{
			u8BufUart2Data[u8IndexUart2] = bufferUart2Rx[0];
			u8IndexUart2 ++;
		}
		else
		{
			u8IndexUart2 = 0;
			Manage_Data_Blue((uint8_t*)u8BufUart2Data);

		}
		 HAL_UART_Receive_IT(&huart2, (uint8_t*)bufferUart2Rx, 1);
	}

}
void HAL_GPIO_EXTI_Callback(uint16_t GPIO_Pin)
{

}
void HAL_UART_TxCpltCallback(UART_HandleTypeDef *huart)
{

}
void HAL_UART_ErrorCallback(UART_HandleTypeDef *huart)
{
		if(HAL_UART_GetError(huart) != HAL_UART_ERROR_NONE)
		{
			HAL_UART_MspDeInit(huart);

			if(huart->Instance == UART4)
				MX_UART4_Init();
			if(huart->Instance == USART2)
				MX_USART2_UART_Init();
		}
}
void HAL_I2C_ErrorCallback(I2C_HandleTypeDef *hi2c)
{
	if(HAL_I2C_GetError(hi2c) != HAL_SPI_ERROR_NONE)
	{
		HAL_I2C_MspDeInit(hi2c);
		if(hi2c->Instance == I2C1)
			MX_I2C1_Init();
		if(hi2c->Instance == I2C2)
		{
			MX_I2C2_Init();
			HAL_I2C_EnableListen_IT(&hi2c2);
		}
	}
}
void HAL_SPI_ErrorCallback(SPI_HandleTypeDef *hspi)
{

	if(HAL_SPI_GetError(hspi) != HAL_SPI_ERROR_NONE)
	{
		HAL_SPI_MspDeInit(hspi);
		MX_SPI2_Init();
	}

}
void HAL_SPI_TxCpltCallback(SPI_HandleTypeDef *hspi)
{
	if(hspi->Instance == SPI2)
	{
	}

}
void HAL_SPI_RxCpltCallback(SPI_HandleTypeDef *hspi)
{
	if(hspi->Instance == SPI2)
	{
	}
}
/* USER CODE END 4 */

void HAL_TIM_PeriodElapsedCallback(TIM_HandleTypeDef *htim)
{
  if (htim->Instance == TIM7) {
    HAL_IncTick();
  }
}

void Error_Handler(void)
{
  __disable_irq();
  while (1)
  {
  }
}
